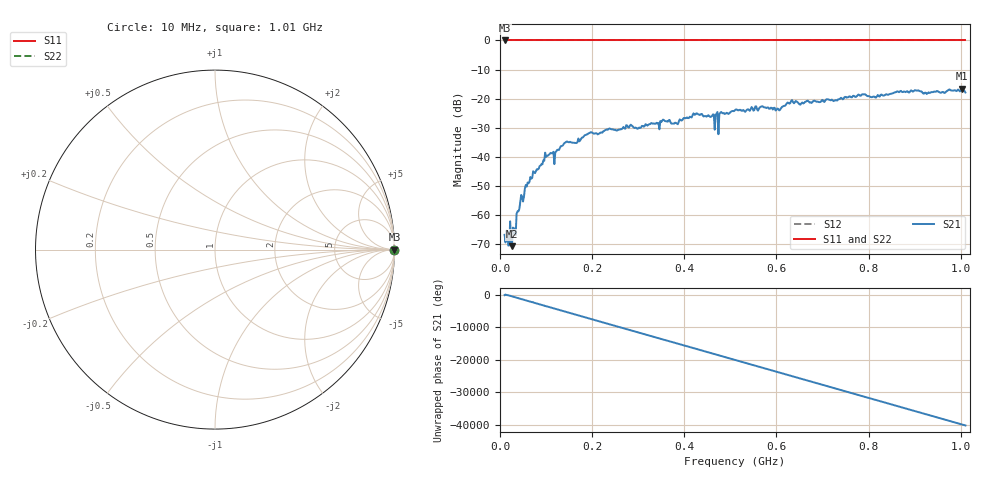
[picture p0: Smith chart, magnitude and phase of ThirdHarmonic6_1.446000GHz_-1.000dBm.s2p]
! 8/16/2025 4:44:54 PM
! C:\ANRITSUVNA\TEMP\TEMP.S2P
! CHANNEL.1
! TR.MEASUREMENT
! RAW.DATA
! RF.CORRECTION.OFF
! AVERAGING.OFF
! IF.BANDWIDTH: 5KHZ
! SWEEPTYPE:  FREQ.SWEEP(Linear)
! Reference Plane Port Info
! PORT:  PORT1  PORT2
! DISTANCE:  0  m  0  m
! TIME:  0  s  0  s
! PHASE.OFFSET:  0  deg.  0  deg.
! LOSS:  0  dB  0  dB
! REF.LOSS:  0  dB  0  dB
! REF.FREQ:  0  Hz  0  Hz
! Power Info
! POWER:  -20  dBm  -20  dBm
! EFF.POWER:  -20  dBm  -20  dBm
! SOURCE.ATTEN:  0  dB  0  dB
! TEST.ATTEN:  0  dB  0  dB
# GHZ S RI R 50.0
! FREQ.GHZ  S11RE  S11IM  S21RE  S21IM  S12RE  S12IM  S22RE  S22IM
!; PortSelection: Port_12
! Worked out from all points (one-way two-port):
!   501 points, 10 MHz to 1.01 GHz, reference 50 ohm
!   highest |S21| = -16.61 dB at 1.002 GHz (marker M1); lowest = -70.8 dB at 26 MHz (marker M2)
!   lowest |S11| = 0.0 dB at 10 MHz (marker M3)
!   |S11| at or under -10 dB: nowhere
!   |S22| runs from 0.0 to 0.0 dB; largest |S21 - S12| = 1.1
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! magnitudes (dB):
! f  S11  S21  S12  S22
! 10 MHz  0.0  -66.9  0.0  0.0
! 22 MHz  0.0  -62.3  0.0  0.0
! 26 MHz  0.0  -70.8  0.0  0.0
! 30 MHz  0.0  -66.7  0.0  0.0
! 42 MHz  0.0  -57.9  0.0  0.0
! 58 MHz  0.0  -50.3  0.0  0.0
! 98 MHz  0.0  -38.6  0.0  0.0
! 122 MHz  0.0  -38.2  0.0  0.0
! 142 MHz  0.0  -35.1  0.0  0.0
! 178 MHz  0.0  -33.4  0.0  0.0
! 234 MHz  0.0  -30.7  0.0  0.0
! 344 MHz  0.0  -28.4  0.0  0.0
! 382 MHz  0.0  -28.4  0.0  0.0
! 424 MHz  0.0  -25.5  0.0  0.0
! 470 MHz  0.0  -25.1  0.0  0.0
! 480 MHz  0.0  -24.6  0.0  0.0
! 510 MHz  0.0  -24.0  0.0  0.0
! 602 MHz  0.0  -23.4  0.0  0.0
! 678 MHz  0.0  -21.2  0.0  0.0
! 844 MHz  0.0  -18.6  0.0  0.0
! 1.002 GHz  0.0  -16.6  0.0  0.0
! 1.01 GHz  0.0  -17.9  0.0  0.0
